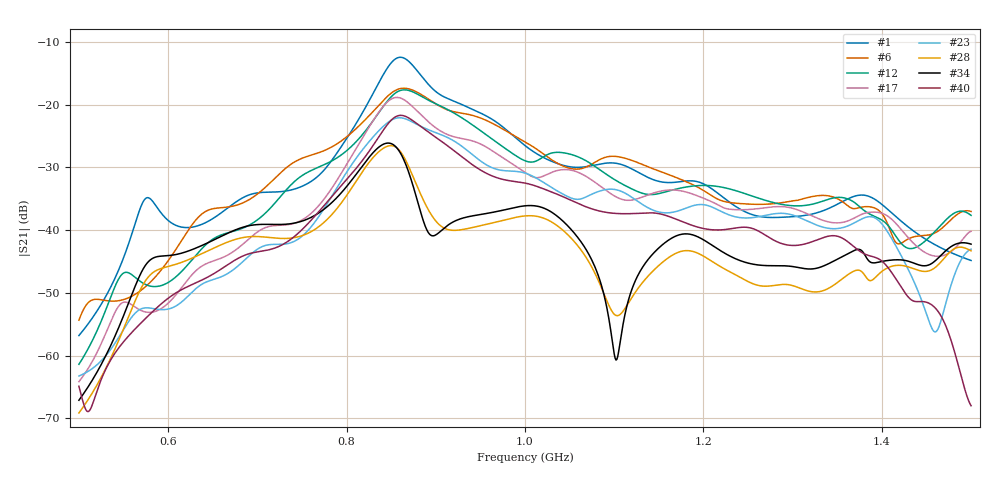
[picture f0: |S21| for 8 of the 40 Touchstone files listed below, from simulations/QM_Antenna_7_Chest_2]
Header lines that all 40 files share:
! TOUCHSTONE file generated by CST MICROWAVE STUDIO
! Header version: 2018
! Port assignment regex: !\s*Touchstone port\s*([0-9]+)\s*=\s*(CST MWS port|CST DS port)\s*([0-9]+|Zmin|Zmax)\s*\(\"(.*)\"\)(\s*mode\s*([0-9]+))?.*
! Touchstone port assignment:
! Touchstone port 1 = CST MWS port 1 ("")
! Touchstone port 2 = CST MWS port 2 ("")
# GHz S DB R 50
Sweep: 500 MHz to 1.5 GHz
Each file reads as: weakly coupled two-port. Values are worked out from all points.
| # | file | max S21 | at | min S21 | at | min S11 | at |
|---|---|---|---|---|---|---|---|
| 1 | 0_1.s2p | -12.46 dB | 860 MHz | -56.8 dB | 500 MHz | -18.5 dB | 1.372 GHz |
| 2 | 0_2.s2p | -12.03 dB | 858 MHz | -57.0 dB | 500 MHz | -22.8 dB | 1.347 GHz |
| 3 | 0_5.s2p | -14.03 dB | 854 MHz | -58.7 dB | 1.5 GHz | -23.3 dB | 673 MHz |
| 4 | 0_7.s2p | -16.24 dB | 854 MHz | -59.0 dB | 529 MHz | -23.3 dB | 659 MHz |
| 5 | 0_8.s2p | -17.36 dB | 858 MHz | -54.9 dB | 500 MHz | -20.4 dB | 1.36 GHz |
| 6 | 0_9.s2p | -17.39 dB | 864 MHz | -54.4 dB | 500 MHz | -25.2 dB | 1.338 GHz |
| 7 | 0_12.s2p | -14.64 dB | 864 MHz | -56.1 dB | 500 MHz | -29.6 dB | 1.279 GHz |
| 8 | 0_17.s2p | -15.91 dB | 854 MHz | -60.6 dB | 500 MHz | -29.9 dB | 1.31 GHz |
| 9 | 0_18.s2p | -16.92 dB | 856 MHz | -61.0 dB | 500 MHz | -38.5 dB | 677 MHz |
| 10 | 0_19.s2p | -17.74 dB | 858 MHz | -61.3 dB | 500 MHz | -36.8 dB | 1.274 GHz |
| 11 | 0_20.s2p | -17.97 dB | 862 MHz | -61.4 dB | 500 MHz | -28.5 dB | 1.256 GHz |
| 12 | 0_21.s2p | -17.65 dB | 865 MHz | -61.4 dB | 500 MHz | -24.5 dB | 1.238 GHz |
| 13 | 0_24.s2p | -16.01 dB | 863 MHz | -60.5 dB | 500 MHz | -32.7 dB | 1.304 GHz |
| 14 | 0_27.s2p | -16.92 dB | 855 MHz | -59.1 dB | 500 MHz | -28.6 dB | 1.255 GHz |
| 15 | 0_28.s2p | -17.79 dB | 855 MHz | -59.0 dB | 500 MHz | -25.4 dB | 1.239 GHz |
| 16 | 0_29.s2p | -18.62 dB | 857 MHz | -59.3 dB | 500 MHz | -26.1 dB | 691 MHz |
| 17 | 0_38.s2p | -18.86 dB | 856 MHz | -64.2 dB | 500 MHz | -31.1 dB | 1.296 GHz |
| 18 | 0_39.s2p | -19.67 dB | 856 MHz | -64.1 dB | 500 MHz | -39.7 dB | 1.282 GHz |
| 19 | 0_44.s2p | -19.99 dB | 865 MHz | -62.0 dB | 500 MHz | -24.7 dB | 1.306 GHz |
| 20 | 0_45.s2p | -19.67 dB | 864 MHz | -61.6 dB | 500 MHz | -28.1 dB | 1.293 GHz |
| 21 | 0_46.s2p | -19.52 dB | 861 MHz | -61.3 dB | 500 MHz | -32.5 dB | 1.28 GHz |
| 22 | 0_49.s2p | -20.73 dB | 855 MHz | -62.1 dB | 500 MHz | -35.5 dB | 1.241 GHz |
| 23 | 0_51.s2p | -22.10 dB | 859 MHz | -63.3 dB | 500 MHz | -27.0 dB | 1.215 GHz |
| 24 | 1_1.s2p | -26.75 dB | 850 MHz | -70.1 dB | 500 MHz | -17.8 dB | 703 MHz |
| 25 | 1_2.s2p | -22.04 dB | 856 MHz | -59.6 dB | 500 MHz | -17.1 dB | 1.298 GHz |
| 26 | 1_4.s2p | -22.42 dB | 862 MHz | -63.7 dB | 500 MHz | -39.9 dB | 764 MHz |
| 27 | 1_6 .s2p | -23.44 dB | 862 MHz | -66.1 dB | 500 MHz | -33.1 dB | 1.072 GHz |
| 28 | 2_1.s2p | -26.54 dB | 850 MHz | -69.1 dB | 500 MHz | -16.2 dB | 704 MHz |
| 29 | 2_2.s2p | -21.88 dB | 856 MHz | -59.9 dB | 525 MHz | -16.2 dB | 1.298 GHz |
| 30 | 2_6.s2p | -23.13 dB | 862 MHz | -66.0 dB | 500 MHz | -33.2 dB | 1.217 GHz |
| 31 | 3_1.s2p | -26.25 dB | 847 MHz | -68.2 dB | 506 MHz | -17.1 dB | 1.371 GHz |
| 32 | 3_2.s2p | -21.68 dB | 856 MHz | -59.4 dB | 519 MHz | -15.2 dB | 1.298 GHz |
| 33 | 3_3.s2p | -20.32 dB | 860 MHz | -64.8 dB | 500 MHz | -26.2 dB | 1.24 GHz |
| 34 | 4_1.s2p | -26.13 dB | 847 MHz | -67.1 dB | 500 MHz | -19.1 dB | 1.373 GHz |
| 35 | 4_2.s2p | -21.53 dB | 855 MHz | -58.5 dB | 500 MHz | -14.8 dB | 1.44 GHz |
| 36 | 4_5.s2p | -21.95 dB | 861 MHz | -71.9 dB | 1.5 GHz | -29.1 dB | 1.258 GHz |
| 37 | 5_2.s2p | -21.32 dB | 855 MHz | -58.2 dB | 500 MHz | -15.5 dB | 1.44 GHz |
| 38 | 5_3.s2p | -19.77 dB | 860 MHz | -64.1 dB | 500 MHz | -25.0 dB | 1.241 GHz |
| 39 | 5_4.s2p | -21.08 dB | 918 MHz | -63.0 dB | 500 MHz | -34.4 dB | 766 MHz |
| 40 | 5_5.s2p | -21.72 dB | 861 MHz | -68.9 dB | 510 MHz | -30.1 dB | 1.258 GHz |
